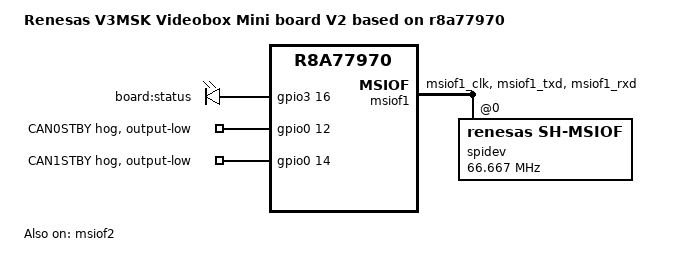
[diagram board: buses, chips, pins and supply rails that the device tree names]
// SPDX-License-Identifier: GPL-2.0
/*
 * Device Tree Source for the V3MSK Videobox Mini board V2 on r8a77970
 *
 * Copyright (C) 2018-2020 Cogent Embedded, Inc.
 */

#include "r8a77970-v3msk-vbm.dts"

/ {
	model = "Renesas V3MSK Videobox Mini board V2 based on r8a77970";

	leds {
		compatible = "gpio-leds";

		led5 {
			label = "board:status";
			gpios = <&gpio3 16 GPIO_ACTIVE_HIGH>;
			linux,default-trigger = "heartbeat";
		};
	};
};

&gpio0 {
	/delete-node/can0stby;

	can0_stby {
		gpio-hog;
		gpios = <12 GPIO_ACTIVE_HIGH>;
		output-low;
		line-name = "CAN0STBY";
	};

	can1_stby {
		gpio-hog;
		gpios = <14 GPIO_ACTIVE_HIGH>;
		output-low;
		line-name = "CAN1STBY";
	};
};

&msiof1 {
	pinctrl-0 = <&msiof1_pins>;
	pinctrl-names = "default";
	cs-gpios = <&gpio3 3 0>;

	status = "okay";
	spidev@0 {
		compatible = "renesas,sh-msiof";
		reg = <0>;
		spi-max-frequency = <66666666>;
	};
};

&msiof2 {
	pinctrl-0 = <&msiof2_pins>;
	pinctrl-names = "default";

	status = "okay";
	slave;
};

&pfc {
	msiof1_pins: msiof1 {
		groups = "msiof1_clk", "msiof1_txd", "msiof1_rxd";
		function = "msiof1";
	};

	msiof2_pins: msiof2 {
		groups = "msiof2_clk", "msiof2_sync", "msiof2_txd", "msiof2_rxd";
		function = "msiof2";
	};
};

&scif3 {
	/* pin conflict with msiof2 */
	/* set R240 and remove R241 before enabling */
	status = "disabled";
};
